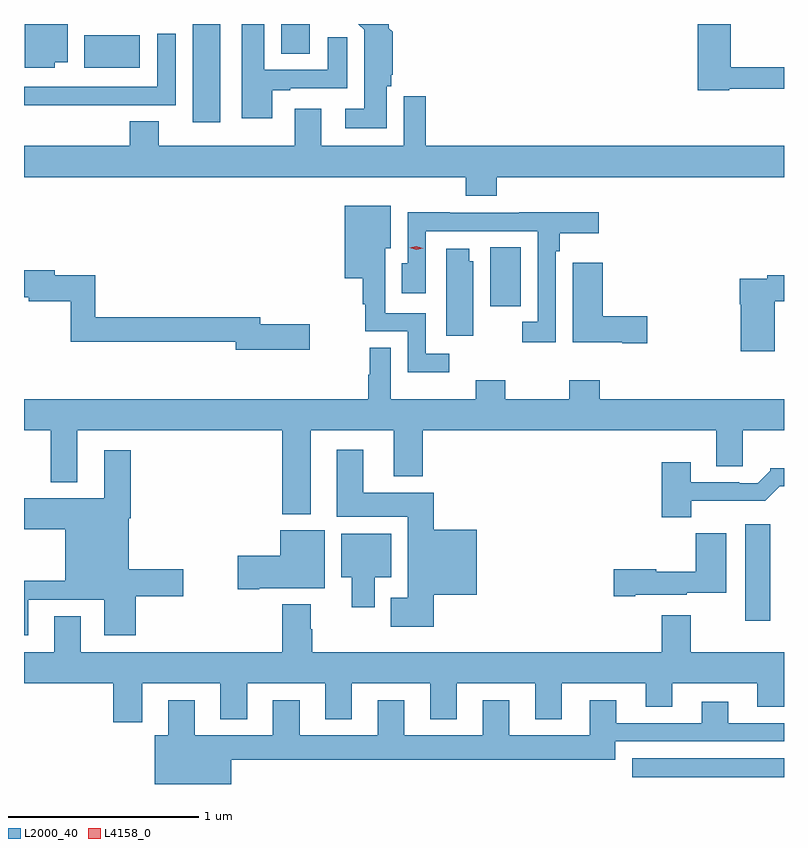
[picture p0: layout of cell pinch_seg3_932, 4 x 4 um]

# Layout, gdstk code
import gdstk
lib = gdstk.Library(unit=1e-6, precision=1e-09)
def R(c, l, rs):  # rectangles x0, y0, x1, y1
    for r in rs: c.add(gdstk.rectangle(r[:2], r[2:], *l))
def P(c, l, *ps):  # polygons
    for p in ps: c.add(gdstk.Polygon(p, *l))
L2000_40 = (2000, 40)
L4158_0 = (4158, 0)

pinch_seg3_932 = lib.new_cell('pinch_seg3_932')
R(pinch_seg3_932, L2000_40, [(569.694,707.081,570.493,707.182), (570.29,707.904,570.421,708.412), (568.946,709.56,569.107,709.871), (567.38,710.529,567.526,711.046), (566.81,710.816,567.103,710.986), (567.848,710.89,567.997,711.046)])
P(pinch_seg3_932, L2000_40, [(570.204,710.706),(570.493,710.706),(570.493,710.819),(570.214,710.819),(570.214,711.046),(570.038,711.046),(570.038,710.698),(570.204,710.698)],
  [(566.656,710.846),(566.722,710.846),(566.722,711.046),(566.498,711.046),(566.498,710.816),(566.656,710.816)],
  [(568.402,710.718),(568.427,710.718),(568.427,710.778),(568.433,710.778),(568.433,711.005),(568.414,711.023),(568.414,711.046),(568.253,711.046),(568.283,711.016),(568.283,710.599),(568.185,710.599),(568.185,710.498),(568.402,710.498)],
  [(567.799,710.697),(567.895,710.697),(567.895,710.709),(568.195,710.709),(568.195,710.977),(568.091,710.977),(568.091,710.805),(567.757,710.805),(567.757,711.046),(567.638,711.046),(567.638,710.55),(567.799,710.55)],
  [(566.966,710.619),(567.291,710.619),(567.291,710.995),(567.195,710.995),(567.195,710.715),(566.493,710.715),(566.493,710.618),(566.966,710.618)],
  [(568.982,710.24),(570.493,710.24),(570.493,710.404),(568.607,710.404),(568.607,710.665),(568.491,710.665),(568.491,710.404),(568.057,710.404),(568.057,710.599),(567.917,710.599),(567.917,710.404),(567.202,710.404),(567.202,710.534),(567.05,710.534),(567.05,710.404),(566.493,710.404),(566.493,710.24),(568.817,710.24),(568.817,710.141),(568.982,710.141)],
  [(568.732,709.311),(568.608,709.311),(568.608,709.524),(568.393,709.524),(568.393,709.865),(568.423,709.865),(568.423,710.089),(568.181,710.089),(568.181,709.709),(568.275,709.709),(568.275,709.572),(568.29,709.572),(568.29,709.428),(568.512,709.428),(568.512,709.214),(568.732,709.214)],
  [(569.292,709.85),(569.312,709.85),(569.312,709.946),(569.518,709.946),(569.518,710.054),(569.099,710.054),(569.099,710.052),(568.733,710.052),(568.733,710.054),(568.512,710.054),(568.512,709.788),(568.481,709.788),(568.481,709.629),(568.608,709.629),(568.608,709.956),(569.196,709.956),(569.196,709.479),(569.115,709.479),(569.115,709.371),(569.292,709.371)],
  [(568.858,709.797),(568.837,709.797),(568.837,709.864),(568.715,709.864),(568.715,709.404),(568.858,709.404)],
  [(569.773,709.508),(569.54,709.508),(569.54,709.789),(569.381,709.789),(569.381,709.37),(569.642,709.37),(569.642,709.366),(569.773,709.366)],
  [(567.997,709.466),(567.736,709.466),(567.736,709.502),(566.867,709.502),(566.867,709.724),(566.656,709.724),(566.656,709.751),(566.493,709.751),(566.493,709.607),(566.518,709.607),(566.518,709.588),(566.739,709.588),(566.739,709.374),(567.608,709.374),(567.608,709.331),(567.997,709.331)],
  [(570.443,709.588),(570.493,709.588),(570.493,709.724),(570.406,709.724),(570.406,709.704),(570.26,709.704),(570.26,709.571),(570.265,709.571),(570.265,709.323),(570.443,709.323)],
  [(569.522,709.171),(569.362,709.171),(569.362,709.072),(569.025,709.072),(569.025,709.171),(568.87,709.171),(568.87,709.072),(568.423,709.072),(568.423,709.343),(568.312,709.343),(568.312,709.2),(568.305,709.2),(568.305,709.072),(566.493,709.072),(566.493,708.908),(566.633,708.908),(566.633,708.635),(566.773,708.635),(566.773,708.908),(567.851,708.908),(567.851,708.467),(568.003,708.467),(568.003,708.908),(568.439,708.908),(568.439,708.665),(568.592,708.665),(568.592,708.908),(570.137,708.908),(570.137,708.718),(570.277,708.718),(570.277,708.908),(570.493,708.908),(570.493,709.072),(569.522,709.072)],
  [(568.649,708.041),(568.876,708.041),(568.876,708.385),(568.649,708.385),(568.649,708.58),(568.279,708.58),(568.279,708.805),(568.139,708.805),(568.139,708.452),(568.514,708.452),(568.514,708.025),(568.424,708.025),(568.424,707.873),(568.649,707.873)],
  [(566.515,708.015),(566.915,708.015),(566.915,707.829),(567.08,707.829),(567.08,708.034),(567.331,708.034),(567.331,708.176),(567.043,708.176),(567.043,708.446),(567.056,708.446),(567.056,708.802),(566.915,708.802),(566.915,708.55),(566.493,708.55),(566.493,708.386),(566.711,708.386),(566.711,708.116),(566.493,708.116),(566.493,707.829),(566.515,707.829)],
  [(570.004,708.536),(570.395,708.536),(570.471,708.612),(570.493,708.612),(570.493,708.709),(570.42,708.709),(570.42,708.694),(570.356,708.63),(570.257,708.63),(570.257,708.633),(570.001,708.633),(570.001,708.739),(569.849,708.739),(569.849,708.449),(570.004,708.449)],
  [(567.73,708.077),(568.075,708.077),(568.075,708.382),(567.842,708.382),(567.842,708.248),(567.618,708.248),(567.618,708.07),(567.73,708.07)],
  [(569.71,708.041),(569.982,708.041),(569.982,708.053),(570.19,708.053),(570.19,708.367),(570.028,708.367),(570.028,708.163),(569.82,708.163),(569.82,708.176),(569.598,708.176),(569.598,708.034),(569.71,708.034)],
  [(568.339,708.134),(568.426,708.134),(568.426,708.364),(568.163,708.364),(568.163,708.134),(568.217,708.134),(568.217,707.976),(568.339,707.976)],
  [(567.115,707.576),(567.527,707.576),(567.527,707.387),(567.667,707.387),(567.667,707.576),(568.079,707.576),(568.079,707.387),(568.219,707.387),(568.219,707.576),(568.631,707.576),(568.631,707.387),(568.771,707.387),(568.771,707.576),(569.183,707.576),(569.183,707.387),(569.323,707.387),(569.323,707.576),(569.765,707.576),(569.765,707.452),(569.905,707.452),(569.905,707.576),(570.353,707.576),(570.353,707.452),(570.493,707.452),(570.493,707.74),(570.001,707.74),(570.001,707.935),(569.849,707.935),(569.849,707.74),(568.011,707.74),(568.011,707.861),(568.003,707.861),(568.003,707.992),(567.851,707.992),(567.851,707.74),(566.791,707.74),(566.791,707.93),(566.651,707.93),(566.651,707.74),(566.493,707.74),(566.493,707.576),(566.963,707.576),(566.963,707.37),(567.115,707.37)],
  [(567.583,707.174),(569.605,707.174),(569.605,707.271),(570.493,707.271),(570.493,707.367),(570.199,707.367),(570.199,707.479),(570.059,707.479),(570.059,707.367),(569.611,707.367),(569.611,707.488),(569.471,707.488),(569.471,707.302),(569.047,707.302),(569.047,707.488),(568.907,707.488),(568.907,707.302),(568.495,707.302),(568.495,707.488),(568.355,707.488),(568.355,707.302),(567.943,707.302),(567.943,707.488),(567.803,707.488),(567.803,707.302),(567.391,707.302),(567.391,707.488),(567.251,707.488),(567.251,707.302),(567.182,707.302),(567.182,707.046),(567.583,707.046)])
P(pinch_seg3_932, L4158_0, [(568.557,709.857),(568.522,709.868),(568.522,709.868),(568.522,709.868),(568.558,709.876),(568.594,709.865),(568.594,709.865),(568.594,709.865)])

lib.write_gds('pinch_seg3_932.gds')
